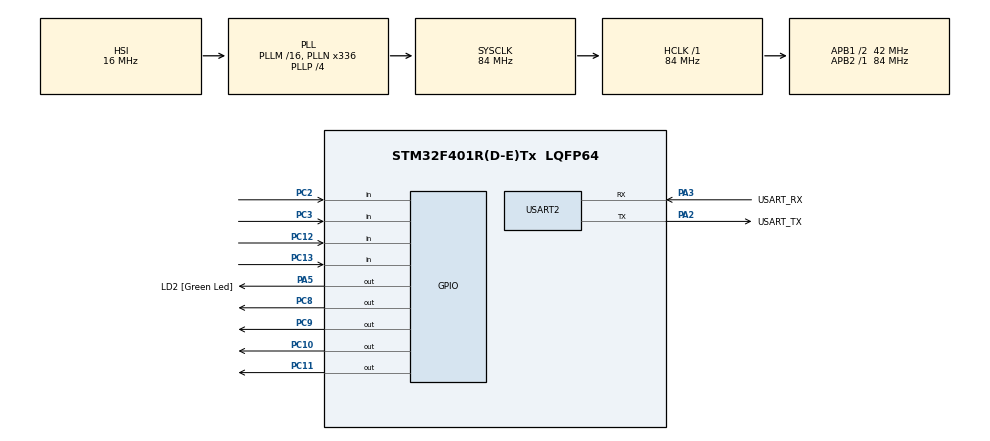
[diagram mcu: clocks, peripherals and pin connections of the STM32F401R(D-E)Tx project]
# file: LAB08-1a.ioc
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Dma.Request0=USART2_TX
Dma.USART2_TX.0.Direction=DMA_MEMORY_TO_PERIPH
Dma.USART2_TX.0.FIFOMode=DMA_FIFOMODE_DISABLE
Dma.USART2_TX.0.Instance=DMA1_Stream6
Dma.USART2_TX.0.MemDataAlignment=DMA_MDATAALIGN_BYTE
Dma.USART2_TX.0.MemInc=DMA_MINC_ENABLE
Dma.USART2_TX.0.Mode=DMA_NORMAL
Dma.USART2_TX.0.PeriphDataAlignment=DMA_PDATAALIGN_BYTE
Dma.USART2_TX.0.PeriphInc=DMA_PINC_DISABLE
Dma.USART2_TX.0.Priority=DMA_PRIORITY_LOW
Mcu.Family=STM32F4
Mcu.Name=STM32F401R(D-E)Tx
Mcu.Package=LQFP64
NVIC.DMA1_Stream6_IRQn=true\:0\:0\:false\:false\:true\:false\:true\:true
NVIC.PriorityGroup=NVIC_PRIORITYGROUP_4
NVIC.TIM2_IRQn=true\:0\:0\:false\:false\:true\:true\:true\:true
NVIC.USART2_IRQn=true\:0\:0\:false\:false\:true\:true\:true\:true
PA13.GPIO_Label=TMS
PA13.Mode=Trace_Asynchronous_SW
PA13.Signal=SYS_JTMS-SWDIO
PA14.GPIO_Label=TCK
PA14.Mode=Trace_Asynchronous_SW
PA14.Signal=SYS_JTCK-SWCLK
PA2.GPIO_Label=USART_TX
PA2.GPIO_Mode=GPIO_MODE_AF_PP
PA2.GPIO_PuPd=GPIO_NOPULL
PA2.GPIO_Speed=GPIO_SPEED_FREQ_LOW
PA2.Mode=Asynchronous
PA2.Signal=USART2_TX
PA3.GPIO_Label=USART_RX
PA3.GPIO_Mode=GPIO_MODE_AF_PP
PA3.GPIO_PuPd=GPIO_NOPULL
PA3.GPIO_Speed=GPIO_SPEED_FREQ_LOW
PA3.Mode=Asynchronous
PA3.Signal=USART2_RX
PA5.GPIO_Label=LD2 [Green Led]
PA5.GPIO_Mode=GPIO_MODE_OUTPUT_PP
PA5.GPIO_PuPd=GPIO_NOPULL
PA5.GPIO_Speed=GPIO_SPEED_FREQ_LOW
PA5.Signal=GPIO_Output
PB3.GPIO_Label=SWO
PB3.Mode=Trace_Asynchronous_SW
PB3.Signal=SYS_JTDO-SWO
PC10.GPIO_PuPd=GPIO_NOPULL
PC10.Signal=GPIO_Output
PC11.GPIO_PuPd=GPIO_NOPULL
PC11.Signal=GPIO_Output
PC12.Signal=GPIO_Input
PC13-ANTI_TAMP.Signal=GPIO_Input
PC14-OSC32_IN.Mode=LSE-External-Oscillator
PC14-OSC32_IN.Signal=RCC_OSC32_IN
PC15-OSC32_OUT.Mode=LSE-External-Oscillator
PC15-OSC32_OUT.Signal=RCC_OSC32_OUT
PC2.Signal=GPIO_Input
PC3.Signal=GPIO_Input
PC8.GPIO_PuPd=GPIO_NOPULL
PC8.Signal=GPIO_Output
PC9.GPIO_PuPd=GPIO_NOPULL
PC9.Signal=GPIO_Output
PH0\ -\ OSC_IN.Mode=HSE-External-Clock-Source
PH0\ -\ OSC_IN.Signal=RCC_OSC_IN
PH1\ -\ OSC_OUT.Mode=HSE-External-Clock-Source
PH1\ -\ OSC_OUT.Signal=RCC_OSC_OUT
ProjectManager.HeapSize=0x200
ProjectManager.StackSize=0x400
ProjectManager.TargetToolchain=STM32CubeIDE
RCC.48MHZClocksFreq_Value=48000000
RCC.AHBFreq_Value=84000000
RCC.APB1CLKDivider=RCC_HCLK_DIV2
RCC.APB1Freq_Value=42000000
RCC.APB1TimFreq_Value=84000000
RCC.APB2Freq_Value=84000000
RCC.APB2TimFreq_Value=84000000
RCC.CortexFreq_Value=84000000
RCC.HCLKFreq_Value=84000000
RCC.HSE_VALUE=8000000
RCC.HSI_VALUE=16000000
RCC.PLLN=336
RCC.PLLP=RCC_PLLP_DIV4
RCC.PLLQ=7
RCC.SYSCLKFreq_VALUE=84000000
RCC.SYSCLKSource=RCC_SYSCLKSOURCE_PLLCLK
RCC.VCOOutputFreq_Value=336000000
TIM2.Period=399
TIM2.Prescaler=839
USART2.VirtualMode=VM_ASYNC
VP_TIM2_VS_ClockSourceINT.Mode=Internal
board=NUCLEO-F401RE

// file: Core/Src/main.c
/* USER CODE BEGIN Header */
/**
  ******************************************************************************
  * @file           : main.c
  * @brief          : Main program body
  ******************************************************************************
  * @attention
  *
  * Copyright (c) 2026 STMicroelectronics.
  * All rights reserved.
  *
  * This software is licensed under terms that can be found in the LICENSE file
  * in the root directory of this software component.
  * If no LICENSE file comes with this software, it is provided AS-IS.
  *
  ******************************************************************************
  */
/* USER CODE END Header */
#include "main.h"

TIM_HandleTypeDef htim2;

UART_HandleTypeDef huart2;
DMA_HandleTypeDef hdma_usart2_tx;

/* USER CODE BEGIN PV */

// Pin definitions for columns (Outputs) and rows (Inputs)
const uint16_t column_pins[4] = { GPIO_PIN_8, GPIO_PIN_9, GPIO_PIN_10, GPIO_PIN_11 };
const uint16_t row_pins[4] = { GPIO_PIN_12, GPIO_PIN_13, GPIO_PIN_2, GPIO_PIN_3 };

// State tracking arrays for debouncing
uint8_t stable[4][4] = {0};
uint8_t counter[4][4] = {0};

// Index to iterate the current active column and row
uint8_t col_index;
uint8_t row_index;

// Look-up table to map row/column coordinates to actual characters
const uint8_t lut[4][4] = {
		{'0', '1', '2', '3'},
		{'4', '5', '6', '7'},
		{'8', '9', 'A', 'B'},
		{'C', 'D', 'E', 'F'}
};

/* USER CODE END PV */

void SystemClock_Config(void);
static void MX_GPIO_Init(void);
static void MX_DMA_Init(void);
static void MX_USART2_UART_Init(void);
static void MX_TIM2_Init(void);

int main(void)
{

  /* MCU Configuration--------------------------------------------------------*/

  /* Reset of all peripherals, Initializes the Flash interface and the Systick. */
  HAL_Init();

  /* Configure the system clock */
  SystemClock_Config();

  /* Initialize all configured peripherals */
  MX_GPIO_Init();
  MX_DMA_Init();
  MX_USART2_UART_Init();
  MX_TIM2_Init();
  /* USER CODE BEGIN 2 */

  // Start the polling timer in interrupt mode
  HAL_TIM_Base_Start_IT(&htim2);

  /* USER CODE END 2 */

  /* Infinite loop */
  while (1)
  {

  }
}

void SystemClock_Config(void)
{
  RCC_OscInitTypeDef RCC_OscInitStruct = {0};
  RCC_ClkInitTypeDef RCC_ClkInitStruct = {0};

  /** Configure the main internal regulator output voltage
  */
  __HAL_RCC_PWR_CLK_ENABLE();
  __HAL_PWR_VOLTAGESCALING_CONFIG(PWR_REGULATOR_VOLTAGE_SCALE2);

  /** Initializes the RCC Oscillators according to the specified parameters
  * in the RCC_OscInitTypeDef structure.
  */
  RCC_OscInitStruct.OscillatorType = RCC_OSCILLATORTYPE_HSI;
  RCC_OscInitStruct.HSIState = RCC_HSI_ON;
  RCC_OscInitStruct.HSICalibrationValue = RCC_HSICALIBRATION_DEFAULT;
  RCC_OscInitStruct.PLL.PLLState = RCC_PLL_ON;
  RCC_OscInitStruct.PLL.PLLSource = RCC_PLLSOURCE_HSI;
  RCC_OscInitStruct.PLL.PLLM = 16;
  RCC_OscInitStruct.PLL.PLLN = 336;
  RCC_OscInitStruct.PLL.PLLP = RCC_PLLP_DIV4;
  RCC_OscInitStruct.PLL.PLLQ = 7;
  if (HAL_RCC_OscConfig(&RCC_OscInitStruct) != HAL_OK)
  {
    Error_Handler();
  }

  /** Initializes the CPU, AHB and APB buses clocks
  */
  RCC_ClkInitStruct.ClockType = RCC_CLOCKTYPE_HCLK|RCC_CLOCKTYPE_SYSCLK
                              |RCC_CLOCKTYPE_PCLK1|RCC_CLOCKTYPE_PCLK2;
  RCC_ClkInitStruct.SYSCLKSource = RCC_SYSCLKSOURCE_PLLCLK;
  RCC_ClkInitStruct.AHBCLKDivider = RCC_SYSCLK_DIV1;
  RCC_ClkInitStruct.APB1CLKDivider = RCC_HCLK_DIV2;
  RCC_ClkInitStruct.APB2CLKDivider = RCC_HCLK_DIV1;

  if (HAL_RCC_ClockConfig(&RCC_ClkInitStruct, FLASH_LATENCY_2) != HAL_OK)
  {
    Error_Handler();
  }
}

static void MX_TIM2_Init(void)
{

  TIM_ClockConfigTypeDef sClockSourceConfig = {0};
  TIM_MasterConfigTypeDef sMasterConfig = {0};

  htim2.Instance = TIM2;
  htim2.Init.Prescaler = 839;
  htim2.Init.CounterMode = TIM_COUNTERMODE_UP;
  htim2.Init.Period = 399;
  htim2.Init.ClockDivision = TIM_CLOCKDIVISION_DIV1;
  htim2.Init.AutoReloadPreload = TIM_AUTORELOAD_PRELOAD_DISABLE;
  if (HAL_TIM_Base_Init(&htim2) != HAL_OK)
  {
    Error_Handler();
  }
  sClockSourceConfig.ClockSource = TIM_CLOCKSOURCE_INTERNAL;
  if (HAL_TIM_ConfigClockSource(&htim2, &sClockSourceConfig) != HAL_OK)
  {
    Error_Handler();
  }
  sMasterConfig.MasterOutputTrigger = TIM_TRGO_RESET;
  sMasterConfig.MasterSlaveMode = TIM_MASTERSLAVEMODE_DISABLE;
  if (HAL_TIMEx_MasterConfigSynchronization(&htim2, &sMasterConfig) != HAL_OK)
  {
    Error_Handler();
  }

}

static void MX_USART2_UART_Init(void)
{

  huart2.Instance = USART2;
  huart2.Init.BaudRate = 115200;
  huart2.Init.WordLength = UART_WORDLENGTH_8B;
  huart2.Init.StopBits = UART_STOPBITS_1;
  huart2.Init.Parity = UART_PARITY_NONE;
  huart2.Init.Mode = UART_MODE_TX_RX;
  huart2.Init.HwFlowCtl = UART_HWCONTROL_NONE;
  huart2.Init.OverSampling = UART_OVERSAMPLING_16;
  if (HAL_UART_Init(&huart2) != HAL_OK)
  {
    Error_Handler();
  }

}

static void MX_DMA_Init(void)
{

  /* DMA controller clock enable */
  __HAL_RCC_DMA1_CLK_ENABLE();

  /* DMA interrupt init */
  /* DMA1_Stream6_IRQn interrupt configuration */
  HAL_NVIC_SetPriority(DMA1_Stream6_IRQn, 0, 0);
  HAL_NVIC_EnableIRQ(DMA1_Stream6_IRQn);

}

static void MX_GPIO_Init(void)
{
  GPIO_InitTypeDef GPIO_InitStruct = {0};

  /* GPIO Ports Clock Enable */
  __HAL_RCC_GPIOC_CLK_ENABLE();
  __HAL_RCC_GPIOH_CLK_ENABLE();
  __HAL_RCC_GPIOA_CLK_ENABLE();
  __HAL_RCC_GPIOB_CLK_ENABLE();

  /*Configure GPIO pin Output Level */
  HAL_GPIO_WritePin(LD2_GPIO_Port, LD2_Pin, GPIO_PIN_RESET);

  /*Configure GPIO pin Output Level */
  HAL_GPIO_WritePin(GPIOC, GPIO_PIN_8|GPIO_PIN_9|GPIO_PIN_10|GPIO_PIN_11, GPIO_PIN_RESET);

  /*Configure GPIO pins : PC13 PC2 PC3 PC12 */
  GPIO_InitStruct.Pin = GPIO_PIN_13|GPIO_PIN_2|GPIO_PIN_3|GPIO_PIN_12;
  GPIO_InitStruct.Mode = GPIO_MODE_INPUT;
  GPIO_InitStruct.Pull = GPIO_NOPULL;
  HAL_GPIO_Init(GPIOC, &GPIO_InitStruct);

  /*Configure GPIO pin : LD2_Pin */
  GPIO_InitStruct.Pin = LD2_Pin;
  GPIO_InitStruct.Mode = GPIO_MODE_OUTPUT_PP;
  GPIO_InitStruct.Pull = GPIO_NOPULL;
  GPIO_InitStruct.Speed = GPIO_SPEED_FREQ_LOW;
  HAL_GPIO_Init(LD2_GPIO_Port, &GPIO_InitStruct);

  /*Configure GPIO pins : PC8 PC9 PC10 PC11 */
  GPIO_InitStruct.Pin = GPIO_PIN_8|GPIO_PIN_9|GPIO_PIN_10|GPIO_PIN_11;
  GPIO_InitStruct.Mode = GPIO_MODE_OUTPUT_PP;
  GPIO_InitStruct.Pull = GPIO_NOPULL;
  GPIO_InitStruct.Speed = GPIO_SPEED_FREQ_LOW;
  HAL_GPIO_Init(GPIOC, &GPIO_InitStruct);

}

/* USER CODE BEGIN 4 */

// This function is automatically called when a Timer Period elapses
void HAL_TIM_PeriodElapsedCallback(TIM_HandleTypeDef *htim){

  if(htim->Instance == TIM2){

	// Read the row for the current active column
	for (row_index = 0; row_index < 4; ++row_index) {

	  // Check the status of the key
	  uint8_t pressed = (HAL_GPIO_ReadPin(GPIOC, row_pins[row_index]) == GPIO_PIN_RESET);

	  // Debounce logic
	  if (pressed == stable[row_index][col_index]) {

		counter[row_index][col_index] = 0;

	  } else {

		counter[row_index][col_index]++;

		// Validate input after it has been stable for 4 consecutive polling cycles
		if (counter[row_index][col_index] > 4) {

		  stable[row_index][col_index] = pressed;
		  counter[row_index][col_index] = 0;

		  // Transmit the character via UART DMA
		  if (pressed) HAL_UART_Transmit_DMA(&huart2, (uint8_t *)&lut[row_index][col_index], 1);
		}
	  }
	}

	// Reset the current active column
	HAL_GPIO_WritePin(GPIOC, column_pins[col_index], GPIO_PIN_RESET);

	// Move to the next column index
	col_index = (col_index + 1) % 4;

	// Set the new active column
	HAL_GPIO_WritePin(GPIOC, column_pins[col_index], GPIO_PIN_SET);
  }
}

/* USER CODE END 4 */

void Error_Handler(void)
{
  __disable_irq();
  while (1)
  {
  }
}
